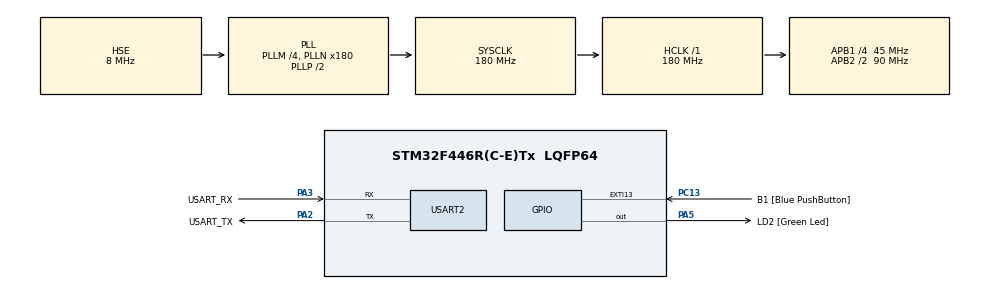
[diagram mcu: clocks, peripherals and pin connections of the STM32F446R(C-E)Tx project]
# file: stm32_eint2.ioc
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Mcu.Family=STM32F4
Mcu.Name=STM32F446R(C-E)Tx
Mcu.Package=LQFP64
NVIC.EXTI15_10_IRQn=true\:0\:0\:false\:false\:true\:true\:true\:true
NVIC.PriorityGroup=NVIC_PRIORITYGROUP_0
PA13.GPIO_Label=TMS
PA13.Mode=Serial_Wire
PA13.Signal=SYS_JTMS-SWDIO
PA14.GPIO_Label=TCK
PA14.Mode=Serial_Wire
PA14.Signal=SYS_JTCK-SWCLK
PA2.GPIO_Label=USART_TX
PA2.Mode=Asynchronous
PA2.Signal=USART2_TX
PA3.GPIO_Label=USART_RX
PA3.Mode=Asynchronous
PA3.Signal=USART2_RX
PA5.GPIO_Label=LD2 [Green Led]
PA5.PinState=GPIO_PIN_SET
PA5.Signal=GPIO_Output
PB3.GPIO_Label=SWO
PB3.Signal=SYS_JTDO-SWO
PC13.GPIO_Label=B1 [Blue PushButton]
PC13.GPIO_ModeDefaultEXTI=GPIO_MODE_IT_RISING
PC13.Signal=GPXTI13
PC14-OSC32_IN.Mode=LSE-External-Oscillator
PC14-OSC32_IN.Signal=RCC_OSC32_IN
PC15-OSC32_OUT.Mode=LSE-External-Oscillator
PC15-OSC32_OUT.Signal=RCC_OSC32_OUT
PH0-OSC_IN.Mode=HSE-External-Oscillator
PH0-OSC_IN.Signal=RCC_OSC_IN
PH1-OSC_OUT.Mode=HSE-External-Oscillator
PH1-OSC_OUT.Signal=RCC_OSC_OUT
ProjectManager.HeapSize=0x200
ProjectManager.StackSize=0x400
ProjectManager.TargetToolchain=STM32CubeIDE
RCC.48MHZClocksFreq_Value=84000000
RCC.AHBFreq_Value=180000000
RCC.APB1CLKDivider=RCC_HCLK_DIV4
RCC.APB1Freq_Value=45000000
RCC.APB1TimFreq_Value=90000000
RCC.APB2CLKDivider=RCC_HCLK_DIV2
RCC.APB2Freq_Value=90000000
RCC.APB2TimFreq_Value=180000000
RCC.CortexFreq_Value=180000000
RCC.FLatency-AdvancedSettings=FLASH_LATENCY_5
RCC.HCLKFreq_Value=180000000
RCC.HSE_VALUE=8000000
RCC.HSI_VALUE=16000000
RCC.PLLM=4
RCC.PLLN=180
RCC.PLLSourceVirtual=RCC_PLLSOURCE_HSE
RCC.SYSCLKFreq_VALUE=180000000
RCC.SYSCLKSource=RCC_SYSCLKSOURCE_PLLCLK
RCC.USBFreq_Value=180000000
RCC.VCOOutputFreq_Value=360000000
USART2.VirtualMode=VM_ASYNC
board=NUCLEO-F446RE

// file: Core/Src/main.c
/* USER CODE BEGIN Header */
/**
  ******************************************************************************
  * @file           : main.c
  * @brief          : Main program body
  ******************************************************************************
  * @attention
  *
  * Copyright (c) 2026 STMicroelectronics.
  * All rights reserved.
  *
  * This software is licensed under terms that can be found in the LICENSE file
  * in the root directory of this software component.
  * If no LICENSE file comes with this software, it is provided AS-IS.
  *
  ******************************************************************************
  */
/* USER CODE END Header */
#include "main.h"

UART_HandleTypeDef huart2;

/* USER CODE BEGIN PV */
uint8_t btn_press = 0;

uint16_t blink_delays[] = { 500, 250, 100 };
uint8_t blink_delays_count = sizeof(blink_delays) / sizeof(blink_delays[0]);
uint8_t blink_delay = 0;
/* USER CODE END PV */

void SystemClock_Config(void);
static void MX_GPIO_Init(void);
static void MX_USART2_UART_Init(void);

/* USER CODE BEGIN 0 */

// Send printf to uart2
int _write(int file, char *ptr, int len)
{
    HAL_UART_Transmit(&huart2, (uint8_t *)ptr, len, HAL_MAX_DELAY);
    return len;
}
/* USER CODE END 0 */

int main(void)
{

  /* MCU Configuration--------------------------------------------------------*/

  /* Reset of all peripherals, Initializes the Flash interface and the Systick. */
  HAL_Init();

  /* Configure the system clock */
  SystemClock_Config();

  /* Initialize all configured peripherals */
  MX_GPIO_Init();
  MX_USART2_UART_Init();

  /* Infinite loop */
  /* USER CODE BEGIN WHILE */

  uint32_t now = 0, next_blink = 500, next_tick = 1000, loop_cnt = 0;
  while (1)
  {
      now = HAL_GetTick();

       //if (now - last_blink >= blink_delays[blink_delay]) {
       if (now >= next_blink) {

           //printf("Toggling GPIO\n");

           HAL_GPIO_TogglePin(LD2_GPIO_Port, LD2_Pin);

           next_blink = now + blink_delays[blink_delay];
       }

       if (now >= next_tick) {

           printf("Tick %lu (loop count = %lu)\n", now / 1000, loop_cnt);

           loop_cnt = 0;
           next_tick = now + 1000;

       }

       if (btn_press) {

           printf("Button pressed\n");

            ++blink_delay;
            if (blink_delay >= blink_delays_count)
                blink_delay = 0;

           btn_press = 0;

       }

       ++loop_cnt;
    /* USER CODE END WHILE */

  }
}

void SystemClock_Config(void)
{
  RCC_OscInitTypeDef RCC_OscInitStruct = {0};
  RCC_ClkInitTypeDef RCC_ClkInitStruct = {0};

  /** Configure the main internal regulator output voltage
  */
  __HAL_RCC_PWR_CLK_ENABLE();
  __HAL_PWR_VOLTAGESCALING_CONFIG(PWR_REGULATOR_VOLTAGE_SCALE1);

  /** Initializes the RCC Oscillators according to the specified parameters
  * in the RCC_OscInitTypeDef structure.
  */
  RCC_OscInitStruct.OscillatorType = RCC_OSCILLATORTYPE_HSE;
  RCC_OscInitStruct.HSEState = RCC_HSE_ON;
  RCC_OscInitStruct.PLL.PLLState = RCC_PLL_ON;
  RCC_OscInitStruct.PLL.PLLSource = RCC_PLLSOURCE_HSE;
  RCC_OscInitStruct.PLL.PLLM = 4;
  RCC_OscInitStruct.PLL.PLLN = 180;
  RCC_OscInitStruct.PLL.PLLP = RCC_PLLP_DIV2;
  RCC_OscInitStruct.PLL.PLLQ = 2;
  RCC_OscInitStruct.PLL.PLLR = 2;
  if (HAL_RCC_OscConfig(&RCC_OscInitStruct) != HAL_OK)
  {
    Error_Handler();
  }

  /** Activate the Over-Drive mode
  */
  if (HAL_PWREx_EnableOverDrive() != HAL_OK)
  {
    Error_Handler();
  }

  /** Initializes the CPU, AHB and APB buses clocks
  */
  RCC_ClkInitStruct.ClockType = RCC_CLOCKTYPE_HCLK|RCC_CLOCKTYPE_SYSCLK
                              |RCC_CLOCKTYPE_PCLK1|RCC_CLOCKTYPE_PCLK2;
  RCC_ClkInitStruct.SYSCLKSource = RCC_SYSCLKSOURCE_PLLCLK;
  RCC_ClkInitStruct.AHBCLKDivider = RCC_SYSCLK_DIV1;
  RCC_ClkInitStruct.APB1CLKDivider = RCC_HCLK_DIV4;
  RCC_ClkInitStruct.APB2CLKDivider = RCC_HCLK_DIV2;

  if (HAL_RCC_ClockConfig(&RCC_ClkInitStruct, FLASH_LATENCY_5) != HAL_OK)
  {
    Error_Handler();
  }
}

static void MX_USART2_UART_Init(void)
{

  huart2.Instance = USART2;
  huart2.Init.BaudRate = 115200;
  huart2.Init.WordLength = UART_WORDLENGTH_8B;
  huart2.Init.StopBits = UART_STOPBITS_1;
  huart2.Init.Parity = UART_PARITY_NONE;
  huart2.Init.Mode = UART_MODE_TX_RX;
  huart2.Init.HwFlowCtl = UART_HWCONTROL_NONE;
  huart2.Init.OverSampling = UART_OVERSAMPLING_16;
  if (HAL_UART_Init(&huart2) != HAL_OK)
  {
    Error_Handler();
  }

}

static void MX_GPIO_Init(void)
{
  GPIO_InitTypeDef GPIO_InitStruct = {0};

  /* GPIO Ports Clock Enable */
  __HAL_RCC_GPIOC_CLK_ENABLE();
  __HAL_RCC_GPIOH_CLK_ENABLE();
  __HAL_RCC_GPIOA_CLK_ENABLE();
  __HAL_RCC_GPIOB_CLK_ENABLE();

  /*Configure GPIO pin Output Level */
  HAL_GPIO_WritePin(LD2_GPIO_Port, LD2_Pin, GPIO_PIN_SET);

  /*Configure GPIO pin : B1_Pin */
  GPIO_InitStruct.Pin = B1_Pin;
  GPIO_InitStruct.Mode = GPIO_MODE_IT_RISING;
  GPIO_InitStruct.Pull = GPIO_NOPULL;
  HAL_GPIO_Init(B1_GPIO_Port, &GPIO_InitStruct);

  /*Configure GPIO pin : LD2_Pin */
  GPIO_InitStruct.Pin = LD2_Pin;
  GPIO_InitStruct.Mode = GPIO_MODE_OUTPUT_PP;
  GPIO_InitStruct.Pull = GPIO_NOPULL;
  GPIO_InitStruct.Speed = GPIO_SPEED_FREQ_LOW;
  HAL_GPIO_Init(LD2_GPIO_Port, &GPIO_InitStruct);

  /* EXTI interrupt init*/
  HAL_NVIC_SetPriority(EXTI15_10_IRQn, 0, 0);
  HAL_NVIC_EnableIRQ(EXTI15_10_IRQn);

}

void Error_Handler(void)
{
  __disable_irq();
  while (1)
  {
  }
}
